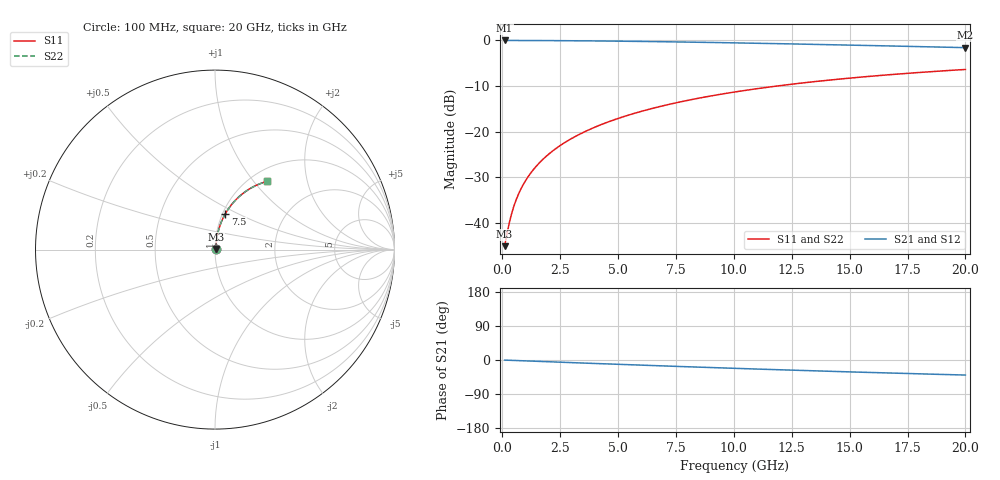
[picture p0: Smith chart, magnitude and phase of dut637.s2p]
! Touchstone file exported from HFSS 2024.1.0
!  File:  C:/UserFiles/LocalFiles/RDL_TSV_Batchsim/temp_RDL_bottom_637_1779784744.aedt
!  Generated:  04:41:22 PM May 26, 2026
!  Design:  RDL_bottom
!  Project:  temp_RDL_bottom_637_1779784744
!  Setup:  Setup1
!  Solution:  Sweep
! Variables:
!  dtsv = 10.80580581um
!  hbump = 3um
!  htsv = 77.69um
!  ldown = 457.9um
!  lrdl = 100um
!  p = 40
!  p1 = 57.11um
!  rhole = 1um
!  t = 450um
!  tdown = 2.96um
!  trdl = 3.915915916um
!  wdown = 11.81um
!  wrdl = 20um
# GHz S MA R 50.000000
! Terminal data exported
! Port[1] = RDL1_T1
! Port[2] = RDL1_T2
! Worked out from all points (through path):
!   200 points, 100 MHz to 20 GHz, reference 50 ohm
!   highest |S21| = -0.04 dB at 100 MHz (marker M1); lowest = -1.6 dB at 20 GHz (marker M2)
!   group delay of S21, straight-line fit = 5.52 ps
!   lowest |S11| = -45.1 dB at 100 MHz (marker M3), VSWR 1.01, Z = 50.5 + j0.291 ohm
!   |S11| at or under -10 dB: start of sweep to 11.9 GHz
!   |S22| runs from -45.1 to -6.4 dB; largest |S21 - S12| = 2.2e-15
!   S11 on the Smith chart (normalised r, x): 100 MHz: 1.01, +0.01; 7.5 GHz: 1.03, +0.43; 20 GHz: 1.19, +1.17
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0.1  0.005544 31.4  0.9953 -0.2  0.9953 -0.2  0.005544 31.4
! Gamma 0 0 0 0
! Port Impedance 50 0 50 0
0.3  0.009915 60.4  0.9951 -0.7  0.9951 -0.7  0.009915 60.4
0.4  0.01251 66.3  0.995 -0.9  0.995 -0.9  0.01251 66.3
0.5  0.01519 70.0  0.9949 -1.2  0.9949 -1.2  0.01519 70.0
0.6  0.0179 72.6  0.9947 -1.4  0.9947 -1.4  0.0179 72.6
0.8  0.02335 75.8  0.9944 -1.9  0.9944 -1.9  0.02335 75.8
1.1  0.03158 78.3  0.9939 -2.6  0.9939 -2.6  0.03158 78.3
1.5  0.04259 79.9  0.993 -3.5  0.993 -3.5  0.04259 79.9
1.8  0.05087 80.5  0.9923 -4.2  0.9923 -4.2  0.05087 80.5
2.1  0.05916 80.7  0.9915 -4.9  0.9915 -4.9  0.05916 80.7
2.7  0.07576 80.7  0.9895 -6.2  0.9895 -6.2  0.07576 80.7
3.5  0.09788 80.1  0.9861 -8.1  0.9861 -8.1  0.09788 80.1
4.2  0.1172 79.3  0.9826 -9.6  0.9826 -9.6  0.1172 79.3
5  0.1391 78.2  0.978 -11.4  0.978 -11.4  0.1391 78.2
5.9  0.1636 76.8  0.972 -13.4  0.972 -13.4  0.1636 76.8
6.8  0.1877 75.3  0.9653 -15.3  0.9653 -15.3  0.1878 75.3
7.5  0.2063 74.0  0.9597 -16.8  0.9597 -16.8  0.2063 74.0
8.7  0.2375 71.9  0.9493 -19.3  0.9493 -19.3  0.2375 71.9
10.1  0.2728 69.4  0.9363 -22.1  0.9363 -22.1  0.2728 69.4
13.4  0.3503 63.5  0.9026 -28.5  0.9026 -28.5  0.3503 63.5
16.7  0.4191 57.8  0.8666 -34.3  0.8666 -34.3  0.4191 57.8
20  0.4787 52.6  0.8302 -39.7  0.8302 -39.7  0.4787 52.6
